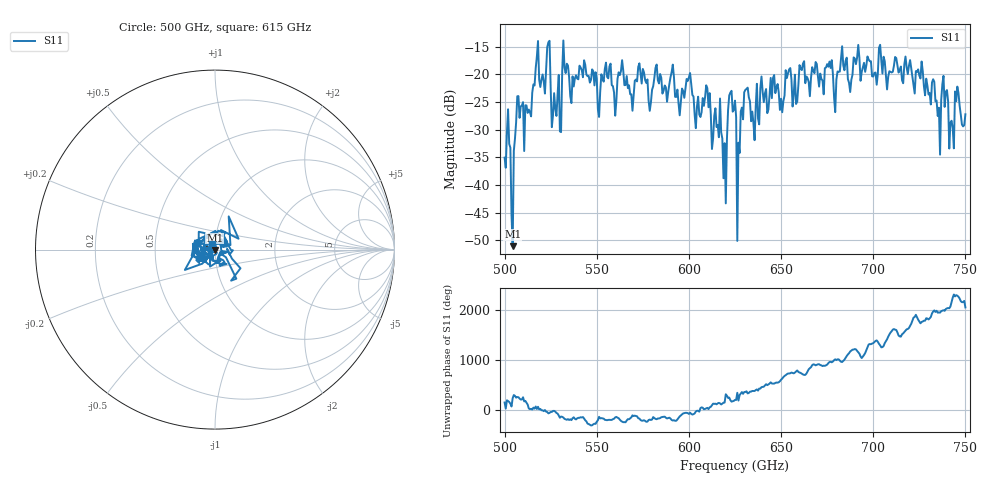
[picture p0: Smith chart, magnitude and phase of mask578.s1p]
!Created with skrf (http://scikit-rf.org).
# GHz S MA R 50.0
!freq magS11 angS11
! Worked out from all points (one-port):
!   401 points, 500 GHz to 750 GHz, reference 50 ohm
!   lowest |S11| = -51.1 dB at 504.4 GHz (marker M1), VSWR 1.01, Z = 49.9 - j0.237 ohm
!   |S11| at or under -10 dB: start of sweep to end of sweep
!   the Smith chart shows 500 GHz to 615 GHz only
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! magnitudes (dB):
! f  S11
! 500 GHz  -35.1
! 501.9 GHz  -26.3
! 504.4 GHz  -51.1
! 507.5 GHz  -23.9
! 513.8 GHz  -26.8
! 516.9 GHz  -18.9
! 523.8 GHz  -14.2
! 526.9 GHz  -23.4
! 531.2 GHz  -19.5
! 533.1 GHz  -19.8
! 551.2 GHz  -27.7
! 562.5 GHz  -20.1
! 593.8 GHz  -22.8
! 610 GHz  -22.5
! 619.4 GHz  -32.4
! 623.1 GHz  -23.0
! 625 GHz  -24.8
! 627.5 GHz  -34.2
! 631.2 GHz  -22.6
! 635 GHz  -28.8
! 656.2 GHz  -25.8
! 687.5 GHz  -23.2
! 718.8 GHz  -20.0
! 735 GHz  -27.5
! 738.8 GHz  -25.9
! 742.5 GHz  -28.4
! 745.6 GHz  -22.2
! 750 GHz  -27.2
